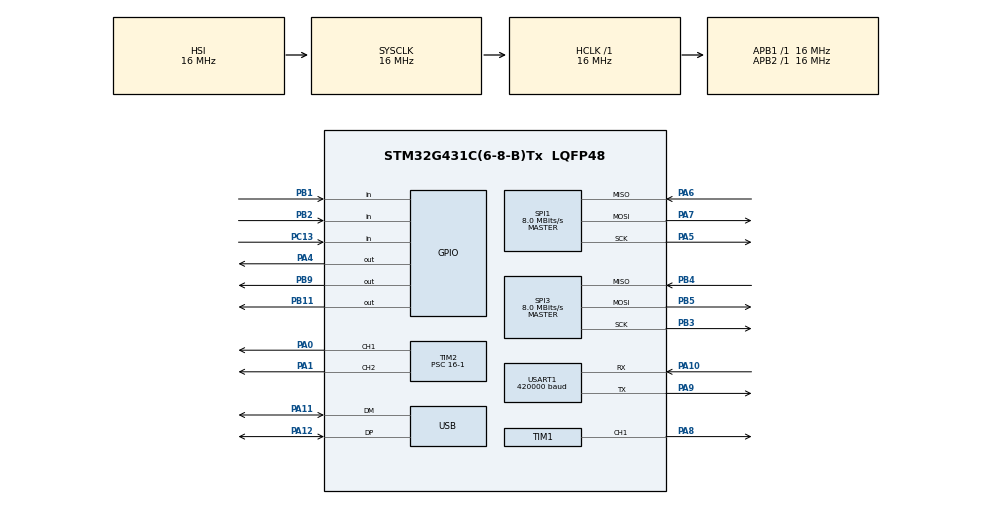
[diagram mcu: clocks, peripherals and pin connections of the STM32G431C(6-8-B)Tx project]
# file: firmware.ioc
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Dma.Request0=USART1_RX
Dma.USART1_RX.0.Direction=DMA_PERIPH_TO_MEMORY
Dma.USART1_RX.0.EventEnable=DISABLE
Dma.USART1_RX.0.Instance=DMA1_Channel1
Dma.USART1_RX.0.MemDataAlignment=DMA_MDATAALIGN_BYTE
Dma.USART1_RX.0.MemInc=DMA_MINC_ENABLE
Dma.USART1_RX.0.Mode=DMA_CIRCULAR
Dma.USART1_RX.0.PeriphDataAlignment=DMA_PDATAALIGN_BYTE
Dma.USART1_RX.0.PeriphInc=DMA_PINC_DISABLE
Dma.USART1_RX.0.Polarity=HAL_DMAMUX_REQ_GEN_RISING
Dma.USART1_RX.0.Priority=DMA_PRIORITY_LOW
Dma.USART1_RX.0.RequestNumber=1
Dma.USART1_RX.0.SignalID=NONE
Dma.USART1_RX.0.SyncEnable=DISABLE
Dma.USART1_RX.0.SyncPolarity=HAL_DMAMUX_SYNC_NO_EVENT
Dma.USART1_RX.0.SyncRequestNumber=1
Dma.USART1_RX.0.SyncSignalID=NONE
Mcu.Family=STM32G4
Mcu.Name=STM32G431C(6-8-B)Tx
Mcu.Package=LQFP48
NVIC.DMA1_Channel1_IRQn=true\:0\:0\:false\:false\:true\:false\:true\:true
NVIC.PriorityGroup=NVIC_PRIORITYGROUP_4
NVIC.USB_LP_IRQn=true\:0\:0\:false\:false\:true\:false\:true\:true
PA0.Signal=S_TIM2_CH1
PA1.Signal=S_TIM2_CH2
PA10.Mode=Asynchronous
PA10.Signal=USART1_RX
PA11.Mode=Device
PA11.Signal=USB_DM
PA12.Mode=Device
PA12.Signal=USB_DP
PA13.Signal=SYS_JTMS-SWDIO
PA14.Signal=SYS_JTCK-SWCLK
PA4.Signal=GPIO_Output
PA5.Mode=Full_Duplex_Master
PA5.Signal=SPI1_SCK
PA6.Mode=Full_Duplex_Master
PA6.Signal=SPI1_MISO
PA7.Mode=Full_Duplex_Master
PA7.Signal=SPI1_MOSI
PA8.Signal=S_TIM1_CH1
PA9.Mode=Asynchronous
PA9.Signal=USART1_TX
PB0.Signal=ADC1_IN15
PB1.Signal=GPIO_Input
PB11.Signal=GPIO_Output
PB2.Signal=GPIO_Input
PB3.Mode=Full_Duplex_Master
PB3.Signal=SPI3_SCK
PB4.Mode=Full_Duplex_Master
PB4.Signal=SPI3_MISO
PB5.Mode=Full_Duplex_Master
PB5.Signal=SPI3_MOSI
PB9.Signal=GPIO_Output
PC13.Signal=GPIO_Input
PF0-OSC_IN.Mode=HSE-External-Oscillator
PF0-OSC_IN.Signal=RCC_OSC_IN
PF1-OSC_OUT.Mode=HSE-External-Oscillator
PF1-OSC_OUT.Signal=RCC_OSC_OUT
ProjectManager.HeapSize=0x200
ProjectManager.StackSize=0x400
ProjectManager.TargetToolchain=STM32CubeIDE
RCC.AHBFreq_Value=16000000
RCC.APB1Freq_Value=16000000
RCC.APB1TimFreq_Value=16000000
RCC.APB2Freq_Value=16000000
RCC.APB2TimFreq_Value=16000000
RCC.CortexFreq_Value=16000000
RCC.EXTERNAL_CLOCK_VALUE=12288000
RCC.HCLKFreq_Value=16000000
RCC.HSE_VALUE=8000000
RCC.HSI48_VALUE=48000000
RCC.HSI_VALUE=16000000
RCC.LSE_VALUE=32768
RCC.PLLN=12
RCC.PLLQ=RCC_PLLQ_DIV4
RCC.SYSCLKFreq_VALUE=16000000
RCC.USBFreq_Value=48000000
RCC.VCOOutputFreq_Value=192000000
SH.S_TIM1_CH1.0=TIM1_CH1,PWM Generation1 CH1
SH.S_TIM2_CH1.0=TIM2_CH1,PWM Generation1 CH1
SH.S_TIM2_CH2.0=TIM2_CH2,PWM Generation2 CH2
SPI1.CalculateBaudRate=8.0 MBits/s
SPI1.Direction=SPI_DIRECTION_2LINES
SPI1.Mode=SPI_MODE_MASTER
SPI1.VirtualType=VM_MASTER
SPI3.CalculateBaudRate=8.0 MBits/s
SPI3.Direction=SPI_DIRECTION_2LINES
SPI3.Mode=SPI_MODE_MASTER
SPI3.VirtualType=VM_MASTER
TIM1.Channel-PWM\ Generation1\ CH1=TIM_CHANNEL_1
TIM1.Prescaler=16-1
TIM2.Channel-PWM\ Generation1\ CH1=TIM_CHANNEL_1
TIM2.Channel-PWM\ Generation2\ CH2=TIM_CHANNEL_2
TIM2.PeriodNoDither=20000
TIM2.Prescaler=16-1
USART1.BaudRate=420000
USART1.VirtualMode-Asynchronous=VM_ASYNC
USB_DEVICE.CLASS_NAME_FS=CDC
USB_DEVICE.VirtualMode=Cdc
USB_DEVICE.VirtualModeFS=Cdc_FS
VP_SYS_VS_DBSignals.Mode=DisableDeadBatterySignals
VP_TIM1_VS_ClockSourceINT.Mode=Internal
VP_TIM2_VS_ClockSourceINT.Mode=Internal
VP_USB_DEVICE_VS_USB_DEVICE_CDC_FS.Mode=CDC_FS
board=custom

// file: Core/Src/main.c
/* USER CODE BEGIN Header */
/**
  ******************************************************************************
  * @file           : main.c
  * @brief          : Main program body
  ******************************************************************************
  * @attention
  *
  * Copyright (c) 2026 STMicroelectronics.
  * All rights reserved.
  *
  * This software is licensed under terms that can be found in the LICENSE file
  * in the root directory of this software component.
  * If no LICENSE file comes with this software, it is provided AS-IS.
  *
  ******************************************************************************
  */
/* USER CODE END Header */
#include "main.h"
#include "usb_device.h"
#include "bmi270_config.h"

/* USER CODE BEGIN Includes */
#include "crsf.h"
#include "usbd_cdc_if.h"
#include <stdio.h>
#include <string.h>
/* USER CODE END Includes */

SPI_HandleTypeDef hspi1;
SPI_HandleTypeDef hspi3;

TIM_HandleTypeDef htim1;
TIM_HandleTypeDef htim2;

UART_HandleTypeDef huart1;
DMA_HandleTypeDef hdma_usart1_rx;

/* USER CODE BEGIN PV */
#define UART_RX_BUF_SIZE 256
uint8_t uart_rx_buf[UART_RX_BUF_SIZE];
uint16_t uart_rx_head = 0;
crsf_t elrs;
uint32_t last_print_time = 0;
/* USER CODE END PV */

void SystemClock_Config(void);
static void MX_GPIO_Init(void);
static void MX_DMA_Init(void);
static void MX_USART1_UART_Init(void);
static void MX_TIM2_Init(void);
static void MX_TIM1_Init(void);
static void MX_SPI1_Init(void);
static void MX_SPI3_Init(void);
/* USER CODE BEGIN PFP */
void JumpToDFU(void);
void LPS22DF_Write(uint8_t reg, uint8_t data);
uint8_t LPS22DF_Read(uint8_t reg);
void LPS22DF_ReadBlock(uint8_t reg, uint8_t *data, uint16_t len);
void BMI270_Write(uint8_t reg, uint8_t data);
uint8_t BMI270_Read(uint8_t reg);
void BMI270_ReadBlock(uint8_t reg, uint8_t *data, uint16_t len);
void BMI270_LoadConfig(void);
/* USER CODE END PFP */

/* USER CODE BEGIN 0 */
volatile uint8_t boot_to_dfu = 0;

void JumpToDFU(void) {
    // Write a magic value to end of SRAM2 (survives a soft reset)
    *((volatile uint32_t *)0x200057F0) = 0xDEADBEEF;

    // Perform a true hardware reset of the microcontroller
    NVIC_SystemReset();
}
/* USER CODE END 0 */

int main(void)
{

  /* USER CODE BEGIN 1 */
  // Catch the Magic RAM flag immediately after reset, before ANY clocks or peripherals are initialized
  if (*((volatile uint32_t *)0x200057F0) == 0xDEADBEEF) {
      *((volatile uint32_t *)0x200057F0) = 0; // Clear the flag

      // Remap System Memory to address 0x00000000
      __HAL_RCC_SYSCFG_CLK_ENABLE();
      __HAL_SYSCFG_REMAPMEMORY_SYSTEMFLASH();

      // Setup jump to ROM bootloader
      void (*SysMemBootJump)(void) = (void (*)(void)) (*((uint32_t *) 0x1FFF0004));

      // Set the main stack pointer
      __set_MSP(*(uint32_t *) 0x1FFF0000);

      // Jump!
      SysMemBootJump();
      while(1);
  }
  /* USER CODE END 1 */

  /* MCU Configuration--------------------------------------------------------*/

  /* Reset of all peripherals, Initializes the Flash interface and the Systick. */
  HAL_Init();

  /* Configure the system clock */
  SystemClock_Config();

  /* Initialize all configured peripherals */
  MX_GPIO_Init();
  MX_DMA_Init();
  MX_USART1_UART_Init();
  MX_USB_Device_Init();
  MX_TIM2_Init();
  MX_TIM1_Init();
  MX_SPI1_Init();
  MX_SPI3_Init();
  /* USER CODE BEGIN 2 */
  crsf_init(&elrs);
  HAL_UART_Receive_DMA(&huart1, uart_rx_buf, UART_RX_BUF_SIZE);
  // Start the PWM channels
  HAL_TIM_PWM_Start(&htim2, TIM_CHANNEL_1);
  HAL_TIM_PWM_Start(&htim2, TIM_CHANNEL_2);
  HAL_TIM_PWM_Start(&htim1, TIM_CHANNEL_2); // Start PA9 (TIM1 CH2)

  // Initialize LPS22HB (Baro)
  uint8_t lps_id = LPS22DF_Read(0x0F); // WHO_AM_I (LPS22HB returns 0xB1)
  LPS22DF_Write(0x10, 0x20); // CTRL_REG1: Power on, ODR=10Hz

  // Initialize BMI270 (IMU)
  BMI270_Read(0x00); // Dummy read to wake up SPI
  HAL_Delay(5);
  uint8_t bmi_id = BMI270_Read(0x00); // CHIP_ID (Expect 0x24)
  BMI270_Write(0x7C, 0x00); // PWR_CONF: Disable advanced power save
  HAL_Delay(1);
  BMI270_LoadConfig();
  uint8_t bmi_stat = BMI270_Read(0x21); // INTERNAL_STATUS (Expect 0x01 = init_ok)
  BMI270_Write(0x7D, 0x04); // PWR_CTRL: acc_en=1
  HAL_Delay(10); // Wait for accelerometer to power up
  BMI270_Write(0x40, 0xA8); // ACC_CONF: ODR=100Hz, Normal mode

  /* USER CODE END 2 */

  /* Infinite loop */
  while (1)
  {

    /* USER CODE BEGIN 3 */
    if (boot_to_dfu) {
        JumpToDFU();
    }

    // Process any new bytes received by DMA
    uint16_t tail = UART_RX_BUF_SIZE - __HAL_DMA_GET_COUNTER(&hdma_usart1_rx);
    while (uart_rx_head != tail) {
        crsf_parse_byte(&elrs, uart_rx_buf[uart_rx_head]);
        uart_rx_head = (uart_rx_head + 1) % UART_RX_BUF_SIZE;
    }

    // Print parsed CRSF data to USB CDC periodically if new data is available
    if (elrs.new_data && (HAL_GetTick() - last_print_time >= 50)) {
        elrs.new_data = false;
        last_print_time = HAL_GetTick();

        // Update Servo PWM output on PA0 (TIM2 CH1) from Channel 1
        __HAL_TIM_SET_COMPARE(&htim2, TIM_CHANNEL_1, elrs.channels[0]);

        // Update Servo PWM output on PA9 (assumed TIM1 CH2) from Channel 2
        __HAL_TIM_SET_COMPARE(&htim1, TIM_CHANNEL_2, elrs.channels[1]);

        // Update ESC PWM output on PA1 (TIM2 CH2) from Channel 3
        // Map receiver range [180, 1800] to standard ESC pulse [1000us, 2000us]
        int32_t ch3_val = elrs.channels[2];
        if (ch3_val < 180) ch3_val = 180;
        if (ch3_val > 1800) ch3_val = 1800;
        uint32_t esc_pulse = 1000 + ((ch3_val - 180) * 1000) / (1800 - 180);
        __HAL_TIM_SET_COMPARE(&htim2, TIM_CHANNEL_2, esc_pulse);

        // Toggle MOSFET on PB11 based on Channel 6 (Aux 2)
        if (elrs.channels[5] > 1500) {
            HAL_GPIO_WritePin(GPIOB, GPIO_PIN_11, GPIO_PIN_SET);
        } else {
            HAL_GPIO_WritePin(GPIOB, GPIO_PIN_11, GPIO_PIN_RESET);
        }

        // Read LPS22DF Data
        uint8_t press_data[3];
        LPS22DF_ReadBlock(0x28, press_data, 3);
        int32_t pressure = (press_data[2] << 16) | (press_data[1] << 8) | press_data[0];
        if (pressure & 0x800000) pressure |= 0xFF000000; // Sign extension
        // Convert to hPa: raw / 4096 = hPa
        int32_t press_int = pressure / 4096;
        int32_t press_frac = ((pressure % 4096) * 100) / 4096;
        if (press_frac < 0) press_frac = -press_frac;

        // Read BMI270 Data
        uint8_t acc_data[6];
        BMI270_ReadBlock(0x0C, acc_data, 6);
        int16_t ax = (acc_data[1] << 8) | acc_data[0];
        int16_t ay = (acc_data[3] << 8) | acc_data[2];
        int16_t az = (acc_data[5] << 8) | acc_data[4];

        char msg[512];
        int len = snprintf(msg, sizeof(msg),
            "CH1:%4u CH2:%4u CH3:%4u CH6:%4u | Baro:%ld.%02ld hPa | BMI_STAT:%02X AX:%6d AY:%6d AZ:%6d\r\n",
            elrs.channels[0], elrs.channels[1], elrs.channels[2], elrs.channels[5],
            press_int, press_frac, bmi_stat, ax, ay, az);

        CDC_Transmit_FS((uint8_t*)msg, len);
    }
  }
  /* USER CODE END 3 */
}

void SystemClock_Config(void)
{
  RCC_OscInitTypeDef RCC_OscInitStruct = {0};
  RCC_ClkInitTypeDef RCC_ClkInitStruct = {0};

  /** Configure the main internal regulator output voltage
  */
  HAL_PWREx_ControlVoltageScaling(PWR_REGULATOR_VOLTAGE_SCALE1);

  /** Initializes the RCC Oscillators according to the specified parameters
  * in the RCC_OscInitTypeDef structure.
  */
  RCC_OscInitStruct.OscillatorType = RCC_OSCILLATORTYPE_HSI;
  RCC_OscInitStruct.HSIState = RCC_HSI_ON;
  RCC_OscInitStruct.HSICalibrationValue = RCC_HSICALIBRATION_DEFAULT;
  RCC_OscInitStruct.PLL.PLLState = RCC_PLL_ON;
  RCC_OscInitStruct.PLL.PLLSource = RCC_PLLSOURCE_HSI;
  RCC_OscInitStruct.PLL.PLLM = RCC_PLLM_DIV1;
  RCC_OscInitStruct.PLL.PLLN = 12;
  RCC_OscInitStruct.PLL.PLLP = RCC_PLLP_DIV2;
  RCC_OscInitStruct.PLL.PLLQ = RCC_PLLQ_DIV4;
  RCC_OscInitStruct.PLL.PLLR = RCC_PLLR_DIV2;
  if (HAL_RCC_OscConfig(&RCC_OscInitStruct) != HAL_OK)
  {
    Error_Handler();
  }

  /** Initializes the CPU, AHB and APB buses clocks
  */
  RCC_ClkInitStruct.ClockType = RCC_CLOCKTYPE_HCLK|RCC_CLOCKTYPE_SYSCLK
                              |RCC_CLOCKTYPE_PCLK1|RCC_CLOCKTYPE_PCLK2;
  RCC_ClkInitStruct.SYSCLKSource = RCC_SYSCLKSOURCE_HSI;
  RCC_ClkInitStruct.AHBCLKDivider = RCC_SYSCLK_DIV1;
  RCC_ClkInitStruct.APB1CLKDivider = RCC_HCLK_DIV1;
  RCC_ClkInitStruct.APB2CLKDivider = RCC_HCLK_DIV1;

  if (HAL_RCC_ClockConfig(&RCC_ClkInitStruct, FLASH_LATENCY_0) != HAL_OK)
  {
    Error_Handler();
  }
}

static void MX_SPI1_Init(void)
{

  /* SPI1 parameter configuration*/
  hspi1.Instance = SPI1;
  hspi1.Init.Mode = SPI_MODE_MASTER;
  hspi1.Init.Direction = SPI_DIRECTION_2LINES;
  hspi1.Init.DataSize = SPI_DATASIZE_8BIT;
  hspi1.Init.CLKPolarity = SPI_POLARITY_LOW;
  hspi1.Init.CLKPhase = SPI_PHASE_1EDGE;
  hspi1.Init.NSS = SPI_NSS_SOFT;
  hspi1.Init.BaudRatePrescaler = SPI_BAUDRATEPRESCALER_32;
  hspi1.Init.FirstBit = SPI_FIRSTBIT_MSB;
  hspi1.Init.TIMode = SPI_TIMODE_DISABLE;
  hspi1.Init.CRCCalculation = SPI_CRCCALCULATION_DISABLE;
  hspi1.Init.CRCPolynomial = 7;
  hspi1.Init.CRCLength = SPI_CRC_LENGTH_DATASIZE;
  hspi1.Init.NSSPMode = SPI_NSS_PULSE_DISABLE;
  if (HAL_SPI_Init(&hspi1) != HAL_OK)
  {
    Error_Handler();
  }

}

static void MX_SPI3_Init(void)
{

  /* SPI3 parameter configuration*/
  hspi3.Instance = SPI3;
  hspi3.Init.Mode = SPI_MODE_MASTER;
  hspi3.Init.Direction = SPI_DIRECTION_2LINES;
  hspi3.Init.DataSize = SPI_DATASIZE_8BIT;
  hspi3.Init.CLKPolarity = SPI_POLARITY_LOW;
  hspi3.Init.CLKPhase = SPI_PHASE_1EDGE;
  hspi3.Init.NSS = SPI_NSS_SOFT;
  hspi3.Init.BaudRatePrescaler = SPI_BAUDRATEPRESCALER_32;
  hspi3.Init.FirstBit = SPI_FIRSTBIT_MSB;
  hspi3.Init.TIMode = SPI_TIMODE_DISABLE;
  hspi3.Init.CRCCalculation = SPI_CRCCALCULATION_DISABLE;
  hspi3.Init.CRCPolynomial = 7;
  hspi3.Init.CRCLength = SPI_CRC_LENGTH_DATASIZE;
  hspi3.Init.NSSPMode = SPI_NSS_PULSE_DISABLE;
  if (HAL_SPI_Init(&hspi3) != HAL_OK)
  {
    Error_Handler();
  }

}

static void MX_TIM1_Init(void)
{

  TIM_ClockConfigTypeDef sClockSourceConfig = {0};
  TIM_MasterConfigTypeDef sMasterConfig = {0};
  TIM_OC_InitTypeDef sConfigOC = {0};
  TIM_BreakDeadTimeConfigTypeDef sBreakDeadTimeConfig = {0};

  htim1.Instance = TIM1;
  htim1.Init.Prescaler = 16-1;
  htim1.Init.CounterMode = TIM_COUNTERMODE_UP;
  htim1.Init.Period = 65535;
  htim1.Init.ClockDivision = TIM_CLOCKDIVISION_DIV1;
  htim1.Init.RepetitionCounter = 0;
  htim1.Init.AutoReloadPreload = TIM_AUTORELOAD_PRELOAD_DISABLE;
  if (HAL_TIM_Base_Init(&htim1) != HAL_OK)
  {
    Error_Handler();
  }
  sClockSourceConfig.ClockSource = TIM_CLOCKSOURCE_INTERNAL;
  if (HAL_TIM_ConfigClockSource(&htim1, &sClockSourceConfig) != HAL_OK)
  {
    Error_Handler();
  }
  if (HAL_TIM_PWM_Init(&htim1) != HAL_OK)
  {
    Error_Handler();
  }
  sMasterConfig.MasterOutputTrigger = TIM_TRGO_RESET;
  sMasterConfig.MasterOutputTrigger2 = TIM_TRGO2_RESET;
  sMasterConfig.MasterSlaveMode = TIM_MASTERSLAVEMODE_DISABLE;
  if (HAL_TIMEx_MasterConfigSynchronization(&htim1, &sMasterConfig) != HAL_OK)
  {
    Error_Handler();
  }
  sConfigOC.OCMode = TIM_OCMODE_PWM1;
  sConfigOC.Pulse = 0;
  sConfigOC.OCPolarity = TIM_OCPOLARITY_HIGH;
  sConfigOC.OCNPolarity = TIM_OCNPOLARITY_HIGH;
  sConfigOC.OCFastMode = TIM_OCFAST_DISABLE;
  sConfigOC.OCIdleState = TIM_OCIDLESTATE_RESET;
  sConfigOC.OCNIdleState = TIM_OCNIDLESTATE_RESET;
  if (HAL_TIM_PWM_ConfigChannel(&htim1, &sConfigOC, TIM_CHANNEL_1) != HAL_OK)
  {
    Error_Handler();
  }
  sBreakDeadTimeConfig.OffStateRunMode = TIM_OSSR_DISABLE;
  sBreakDeadTimeConfig.OffStateIDLEMode = TIM_OSSI_DISABLE;
  sBreakDeadTimeConfig.LockLevel = TIM_LOCKLEVEL_OFF;
  sBreakDeadTimeConfig.DeadTime = 0;
  sBreakDeadTimeConfig.BreakState = TIM_BREAK_DISABLE;
  sBreakDeadTimeConfig.BreakPolarity = TIM_BREAKPOLARITY_HIGH;
  sBreakDeadTimeConfig.BreakFilter = 0;
  sBreakDeadTimeConfig.BreakAFMode = TIM_BREAK_AFMODE_INPUT;
  sBreakDeadTimeConfig.Break2State = TIM_BREAK2_DISABLE;
  sBreakDeadTimeConfig.Break2Polarity = TIM_BREAK2POLARITY_HIGH;
  sBreakDeadTimeConfig.Break2Filter = 0;
  sBreakDeadTimeConfig.Break2AFMode = TIM_BREAK_AFMODE_INPUT;
  sBreakDeadTimeConfig.AutomaticOutput = TIM_AUTOMATICOUTPUT_DISABLE;
  if (HAL_TIMEx_ConfigBreakDeadTime(&htim1, &sBreakDeadTimeConfig) != HAL_OK)
  {
    Error_Handler();
  }
  HAL_TIM_MspPostInit(&htim1);

}

static void MX_TIM2_Init(void)
{

  TIM_ClockConfigTypeDef sClockSourceConfig = {0};
  TIM_MasterConfigTypeDef sMasterConfig = {0};
  TIM_OC_InitTypeDef sConfigOC = {0};

  htim2.Instance = TIM2;
  htim2.Init.Prescaler = 16-1;
  htim2.Init.CounterMode = TIM_COUNTERMODE_UP;
  htim2.Init.Period = 20000;
  htim2.Init.ClockDivision = TIM_CLOCKDIVISION_DIV1;
  htim2.Init.AutoReloadPreload = TIM_AUTORELOAD_PRELOAD_DISABLE;
  if (HAL_TIM_Base_Init(&htim2) != HAL_OK)
  {
    Error_Handler();
  }
  sClockSourceConfig.ClockSource = TIM_CLOCKSOURCE_INTERNAL;
  if (HAL_TIM_ConfigClockSource(&htim2, &sClockSourceConfig) != HAL_OK)
  {
    Error_Handler();
  }
  if (HAL_TIM_PWM_Init(&htim2) != HAL_OK)
  {
    Error_Handler();
  }
  sMasterConfig.MasterOutputTrigger = TIM_TRGO_RESET;
  sMasterConfig.MasterSlaveMode = TIM_MASTERSLAVEMODE_DISABLE;
  if (HAL_TIMEx_MasterConfigSynchronization(&htim2, &sMasterConfig) != HAL_OK)
  {
    Error_Handler();
  }
  sConfigOC.OCMode = TIM_OCMODE_PWM1;
  sConfigOC.Pulse = 0;
  sConfigOC.OCPolarity = TIM_OCPOLARITY_HIGH;
  sConfigOC.OCFastMode = TIM_OCFAST_DISABLE;
  if (HAL_TIM_PWM_ConfigChannel(&htim2, &sConfigOC, TIM_CHANNEL_1) != HAL_OK)
  {
    Error_Handler();
  }
  if (HAL_TIM_PWM_ConfigChannel(&htim2, &sConfigOC, TIM_CHANNEL_2) != HAL_OK)
  {
    Error_Handler();
  }
  HAL_TIM_MspPostInit(&htim2);

}

static void MX_USART1_UART_Init(void)
{

  huart1.Instance = USART1;
  huart1.Init.BaudRate = 420000;
  huart1.Init.WordLength = UART_WORDLENGTH_8B;
  huart1.Init.StopBits = UART_STOPBITS_1;
  huart1.Init.Parity = UART_PARITY_NONE;
  huart1.Init.Mode = UART_MODE_TX_RX;
  huart1.Init.HwFlowCtl = UART_HWCONTROL_NONE;
  huart1.Init.OverSampling = UART_OVERSAMPLING_16;
  huart1.Init.OneBitSampling = UART_ONE_BIT_SAMPLE_DISABLE;
  huart1.Init.ClockPrescaler = UART_PRESCALER_DIV1;
  huart1.AdvancedInit.AdvFeatureInit = UART_ADVFEATURE_NO_INIT;
  if (HAL_UART_Init(&huart1) != HAL_OK)
  {
    Error_Handler();
  }
  if (HAL_UARTEx_SetTxFifoThreshold(&huart1, UART_TXFIFO_THRESHOLD_1_8) != HAL_OK)
  {
    Error_Handler();
  }
  if (HAL_UARTEx_SetRxFifoThreshold(&huart1, UART_RXFIFO_THRESHOLD_1_8) != HAL_OK)
  {
    Error_Handler();
  }
  if (HAL_UARTEx_DisableFifoMode(&huart1) != HAL_OK)
  {
    Error_Handler();
  }

}

static void MX_DMA_Init(void)
{

  /* DMA controller clock enable */
  __HAL_RCC_DMAMUX1_CLK_ENABLE();
  __HAL_RCC_DMA1_CLK_ENABLE();

  /* DMA interrupt init */
  /* DMA1_Channel1_IRQn interrupt configuration */
  HAL_NVIC_SetPriority(DMA1_Channel1_IRQn, 0, 0);
  HAL_NVIC_EnableIRQ(DMA1_Channel1_IRQn);

}

static void MX_GPIO_Init(void)
{
  GPIO_InitTypeDef GPIO_InitStruct = {0};

  /* GPIO Ports Clock Enable */
  __HAL_RCC_GPIOC_CLK_ENABLE();
  __HAL_RCC_GPIOF_CLK_ENABLE();
  __HAL_RCC_GPIOA_CLK_ENABLE();
  __HAL_RCC_GPIOB_CLK_ENABLE();

  /*Configure GPIO pin Output Level */
  HAL_GPIO_WritePin(GPIOA, GPIO_PIN_4, GPIO_PIN_SET); // CS High by default

  /*Configure GPIO pin Output Level */
  HAL_GPIO_WritePin(GPIOB, GPIO_PIN_9, GPIO_PIN_SET); // CS High by default
  HAL_GPIO_WritePin(GPIOB, GPIO_PIN_11, GPIO_PIN_RESET); // MOSFET Low by default

  /*Configure GPIO pin : PC13 */
  GPIO_InitStruct.Pin = GPIO_PIN_13;
  GPIO_InitStruct.Mode = GPIO_MODE_INPUT;
  GPIO_InitStruct.Pull = GPIO_NOPULL;
  HAL_GPIO_Init(GPIOC, &GPIO_InitStruct);

  /*Configure GPIO pin : PA4 */
  GPIO_InitStruct.Pin = GPIO_PIN_4;
  GPIO_InitStruct.Mode = GPIO_MODE_OUTPUT_PP;
  GPIO_InitStruct.Pull = GPIO_NOPULL;
  GPIO_InitStruct.Speed = GPIO_SPEED_FREQ_LOW;
  HAL_GPIO_Init(GPIOA, &GPIO_InitStruct);

  /*Configure GPIO pin : PB0 */
  GPIO_InitStruct.Pin = GPIO_PIN_0;
  GPIO_InitStruct.Mode = GPIO_MODE_ANALOG;
  GPIO_InitStruct.Pull = GPIO_NOPULL;
  HAL_GPIO_Init(GPIOB, &GPIO_InitStruct);

  /*Configure GPIO pins : PB1 PB2 */
  GPIO_InitStruct.Pin = GPIO_PIN_1|GPIO_PIN_2;
  GPIO_InitStruct.Mode = GPIO_MODE_INPUT;
  GPIO_InitStruct.Pull = GPIO_NOPULL;
  HAL_GPIO_Init(GPIOB, &GPIO_InitStruct);

  /*Configure GPIO pins : PB11 PB9 */
  GPIO_InitStruct.Pin = GPIO_PIN_11|GPIO_PIN_9;
  GPIO_InitStruct.Mode = GPIO_MODE_OUTPUT_PP;
  GPIO_InitStruct.Pull = GPIO_NOPULL;
  GPIO_InitStruct.Speed = GPIO_SPEED_FREQ_LOW;
  HAL_GPIO_Init(GPIOB, &GPIO_InitStruct);

}

/* USER CODE BEGIN 4 */
// LPS22DF Helpers (SPI3, CS=PB9)
void LPS22DF_Write(uint8_t reg, uint8_t data) {
    uint8_t tx[2] = {(uint8_t)(reg & 0x7F), data};
    HAL_GPIO_WritePin(GPIOB, GPIO_PIN_9, GPIO_PIN_RESET);
    HAL_SPI_Transmit(&hspi3, tx, 2, 10);
    HAL_GPIO_WritePin(GPIOB, GPIO_PIN_9, GPIO_PIN_SET);
}

uint8_t LPS22DF_Read(uint8_t reg) {
    uint8_t tx[2] = {(uint8_t)(reg | 0x80), 0x00};
    uint8_t rx[2] = {0, 0};
    HAL_GPIO_WritePin(GPIOB, GPIO_PIN_9, GPIO_PIN_RESET);
    HAL_SPI_TransmitReceive(&hspi3, tx, rx, 2, 10);
    HAL_GPIO_WritePin(GPIOB, GPIO_PIN_9, GPIO_PIN_SET);
    return rx[1];
}

void LPS22DF_ReadBlock(uint8_t reg, uint8_t *data, uint16_t len) {
    uint8_t tx[32] = {0}; // Ensure large enough
    uint8_t rx[32] = {0};
    tx[0] = reg | 0x80;
    HAL_GPIO_WritePin(GPIOB, GPIO_PIN_9, GPIO_PIN_RESET);
    HAL_SPI_TransmitReceive(&hspi3, tx, rx, len + 1, 10);
    HAL_GPIO_WritePin(GPIOB, GPIO_PIN_9, GPIO_PIN_SET);
    for (int i = 0; i < len; i++) data[i] = rx[i + 1];
}

// BMI270 Helpers (SPI1, CS=PA4)
void BMI270_Write(uint8_t reg, uint8_t data) {
    uint8_t tx[2] = {(uint8_t)(reg & 0x7F), data};
    HAL_GPIO_WritePin(GPIOA, GPIO_PIN_4, GPIO_PIN_RESET);
    HAL_SPI_Transmit(&hspi1, tx, 2, 10);
    HAL_GPIO_WritePin(GPIOA, GPIO_PIN_4, GPIO_PIN_SET);
}

uint8_t BMI270_Read(uint8_t reg) {
    uint8_t tx[3] = {(uint8_t)(reg | 0x80), 0x00, 0x00};
    uint8_t rx[3] = {0, 0, 0};
    HAL_GPIO_WritePin(GPIOA, GPIO_PIN_4, GPIO_PIN_RESET);
    HAL_SPI_TransmitReceive(&hspi1, tx, rx, 3, 10); // Dummy byte is rx[1]
    HAL_GPIO_WritePin(GPIOA, GPIO_PIN_4, GPIO_PIN_SET);
    return rx[2];
}

void BMI270_ReadBlock(uint8_t reg, uint8_t *data, uint16_t len) {
    uint8_t tx[32] = {0};
    uint8_t rx[32] = {0};
    tx[0] = reg | 0x80;
    HAL_GPIO_WritePin(GPIOA, GPIO_PIN_4, GPIO_PIN_RESET);
    HAL_SPI_TransmitReceive(&hspi1, tx, rx, len + 2, 10); // Dummy byte is rx[1]
    HAL_GPIO_WritePin(GPIOA, GPIO_PIN_4, GPIO_PIN_SET);
    for (int i = 0; i < len; i++) data[i] = rx[i + 2];
}

void BMI270_LoadConfig(void) {
    BMI270_Write(0x59, 0x00); // INIT_CTRL: Disable initialization
    HAL_Delay(1);

    uint16_t config_size = sizeof(bmi270_config_file);
    for (uint16_t i = 0; i < config_size; i += 256) {
        uint16_t len = config_size - i;
        if (len > 256) len = 256;

        // Set INIT_ADDR
        uint16_t addr = i / 2;
        BMI270_Write(0x5B, (uint8_t)(addr & 0x0F));
        BMI270_Write(0x5C, (uint8_t)((addr >> 4) & 0xFF));

        // Burst write
        uint8_t tx[257];
        tx[0] = 0x5E & 0x7F; // Write to INIT_DATA
        for (int j = 0; j < len; j++) tx[j + 1] = bmi270_config_file[i + j];

        HAL_GPIO_WritePin(GPIOA, GPIO_PIN_4, GPIO_PIN_RESET);
        HAL_SPI_Transmit(&hspi1, tx, len + 1, 100);
        HAL_GPIO_WritePin(GPIOA, GPIO_PIN_4, GPIO_PIN_SET);
    }

    BMI270_Write(0x59, 0x01); // INIT_CTRL: Start initialization
    HAL_Delay(25); // Wait for init to complete
}
/* USER CODE END 4 */

void Error_Handler(void)
{
  __disable_irq();
  while (1)
  {
  }
}
